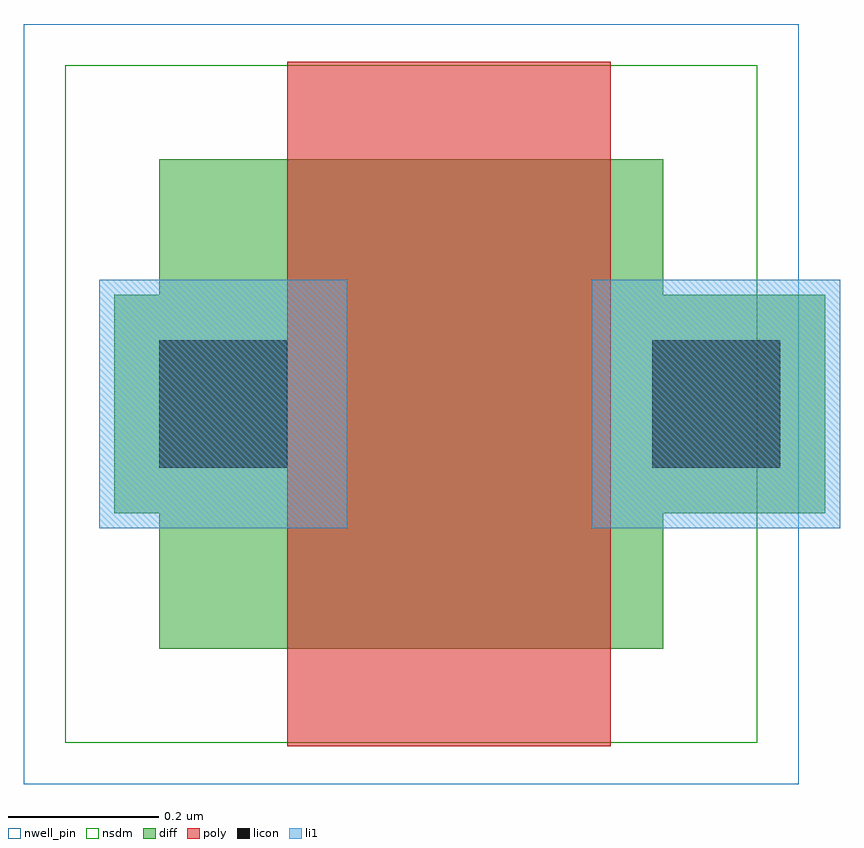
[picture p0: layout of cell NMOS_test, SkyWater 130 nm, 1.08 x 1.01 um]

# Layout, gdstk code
import gdstk
lib = gdstk.Library(unit=1e-6, precision=1e-09)
def R(c, l, rs):  # rectangles x0, y0, x1, y1
    for r in rs: c.add(gdstk.rectangle(r[:2], r[2:], *l))
nwell_pin = (64, 16)
diff = (65, 20)
poly = (66, 20)
licon = (66, 44)
li1 = (67, 20)
nsdm = (93, 44)

nmos_test = lib.new_cell('NMOS_test')
R(nmos_test, nwell_pin, [(-0.18,-0.05,0.85,0.96)])
R(nmos_test, diff, [(0,0.13,0.67,0.78), (-0.06,0.31,0.23,0.6), (0.595,0.31,0.885,0.6)])
R(nmos_test, poly, [(0.17,0,0.6,0.91)])
R(nmos_test, licon, [(0,0.37,0.17,0.54), (0.655,0.37,0.825,0.54)])
R(nmos_test, li1, [(-0.08,0.29,0.25,0.62), (0.575,0.29,0.905,0.62)])
R(nmos_test, nsdm, [(-0.125,0.005,0.795,0.905)])

lib.write_gds('NMOS_test.gds')
